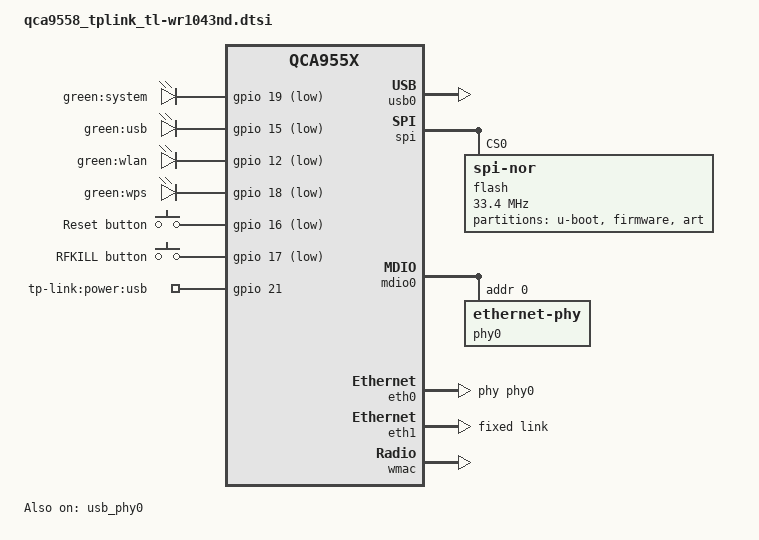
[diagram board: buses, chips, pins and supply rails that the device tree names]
// SPDX-License-Identifier: GPL-2.0-or-later OR MIT

#include "qca955x.dtsi"

#include <dt-bindings/gpio/gpio.h>
#include <dt-bindings/input/input.h>

/ {
	aliases {
		led-boot = &led_system;
		led-failsafe = &led_system;
		led-running = &led_system;
		led-upgrade = &led_system;
		label-mac-device = &wmac;
	};

	leds {
		compatible = "gpio-leds";

		led_system: system {
			label = "green:system";
			gpios = <&gpio 19 GPIO_ACTIVE_LOW>;
			linux,default-trigger = "heartbeat";
		};

		usb {
			label = "green:usb";
			gpios = <&gpio 15 GPIO_ACTIVE_LOW>;
			trigger-sources = <&hub_port0>;
			linux,default-trigger = "usbport";
		};

		wifi_green {
			label = "green:wlan";
			gpios = <&gpio 12 GPIO_ACTIVE_LOW>;
			linux,default-trigger = "phy0tpt";
		};

		wifi_wps {
			label = "green:wps";
			gpios = <&gpio 18 GPIO_ACTIVE_LOW>;
		};
	};

	keys {
		compatible = "gpio-keys";

		reset {
			label = "Reset button";
			linux,code = <KEY_RESTART>;
			gpios = <&gpio 16 GPIO_ACTIVE_LOW>;
			debounce-interval = <60>;
		};

		wifi {
			label = "RFKILL button";
			linux,code = <KEY_RFKILL>;
			gpios = <&gpio 17 GPIO_ACTIVE_LOW>;
			debounce-interval = <60>;
		};
	};

	gpio-export {
		compatible = "gpio-export";
		#size-cells = <0>;

		gpio_usb_power {
			gpio-export,name = "tp-link:power:usb";
			gpio-export,output = <1>;
			gpios = <&gpio 21 GPIO_ACTIVE_HIGH>;
		};
	};
};

&usb_phy0 {
	status = "okay";
};

&usb0 {
	#address-cells = <1>;
	#size-cells = <0>;
	status = "okay";

	hub_port0: port@1 {
		reg = <1>;
		#trigger-source-cells = <0>;
	};
};

&spi {
	status = "okay";

	flash@0 {
		compatible = "jedec,spi-nor";
		reg = <0>;
		spi-max-frequency = <33400000>;

		partitions {
			compatible = "fixed-partitions";
			#address-cells = <1>;
			#size-cells = <1>;

			uboot: partition@0 {
				label = "u-boot";
				reg = <0x000000 0x020000>;
				read-only;
			};

			partition@20000 {
				compatible = "tplink,firmware";
				label = "firmware";
				reg = <0x020000 0x7d0000>;
			};

			art: partition@7f0000 {
				label = "art";
				reg = <0x7f0000 0x010000>;
				read-only;
			};
		};
	};
};

&mdio0 {
	status = "okay";

	phy0: ethernet-phy@0 {
		reg = <0>;
		qca,ar8327-initvals = <
			0x04 0x00080080 /* PORT0 PAD MODE CTRL */
			0x0c 0x07600000 /* PORT6 PAD MODE CTRL */
			0x10 0x81000080 /* POWER_ON_STRAP */
			0x50 0xcc35cc35 /* LED_CTRL0 */
			0x54 0xca35ca35 /* LED_CTRL1 */
			0x58 0xc935c935 /* LED_CTRL2 */
			0x5c 0x03ffff00 /* LED_CTRL3 */
			0x7c 0x0000007e /* PORT0_STATUS */
			0x94 0x0000007e /* PORT6 STATUS */
		>;
	};
};

&eth0 {
	status = "okay";

	pll-data = <0x56000000 0x00000101 0x00001616>;

	nvmem-cells = <&macaddr_uboot_1fc00>;
	nvmem-cell-names = "mac-address";
	mac-address-increment = <1>;
	phy-handle = <&phy0>;
};

&eth1 {
	status = "okay";

	pll-data = <0x03000101 0x00000101 0x00001616>;

	nvmem-cells = <&macaddr_uboot_1fc00>;
	nvmem-cell-names = "mac-address";

	fixed-link {
		speed = <1000>;
		full-duplex;
	};
};

&wmac {
	status = "okay";
	mtd-cal-data = <&art 0x1000>;
	nvmem-cells = <&macaddr_uboot_1fc00>;
	nvmem-cell-names = "mac-address";
};

&uboot {
	compatible = "nvmem-cells";
	#address-cells = <1>;
	#size-cells = <1>;

	macaddr_uboot_1fc00: macaddr@1fc00 {
		reg = <0x1fc00 0x6>;
	};
};
